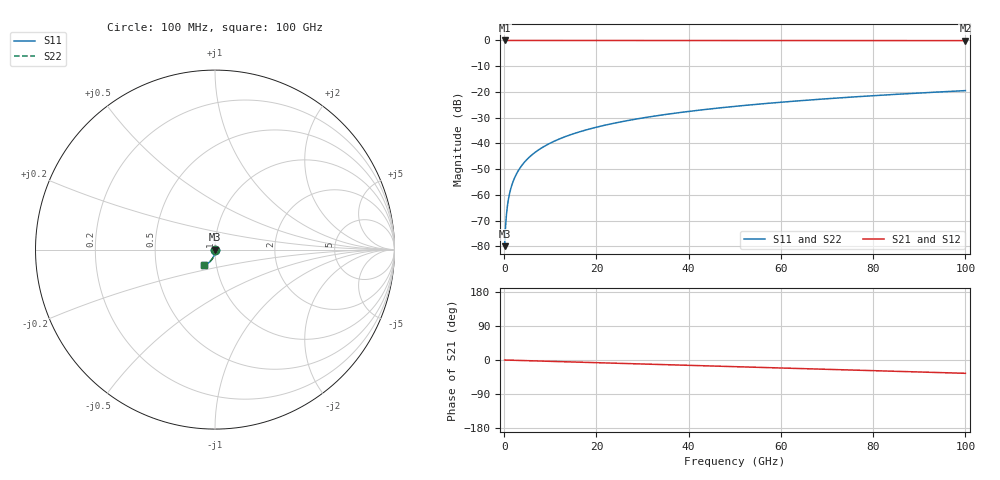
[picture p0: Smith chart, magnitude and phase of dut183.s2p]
! Touchstone file exported from HFSS 2026.1.0
!  File:  C:/ffzhzh/LocalFiles/Ansys_Project_Files/temp_train_TSV_183_1783507158_55944.aedt
!  Generated:  06:40:28 PM Jul  8, 2026
!  Design:  TSV
!  Project:  temp_train_TSV_183_1783507158_55944
! Variables:
!  h_bsmrdl = 2um
!  h_ox = 20um
!  h_rdl = 5um
!  h_sub = 68.57um
!  h_tmrdl = 5um
!  h_tsv = 68.57um
!  h_via = 3um
!  l_bsmrdl = 300um
!  l_sub = 426.9um
!  l_tmrdl = 200um
!  m_sub = 200um
!  pitch = 45.73um
!  r_tsv = 13.45um
!  s_tmrdl = 10um
!  w_bsmrdl = 18um
!  w_sub = 500um
!  w_tmrdl = 12um
!  x_tsv_center1 = 206um
!  x_tsv_center2 = 524um
!  x_tsv_center3 = 736um
!  x_tsv_center4 = 1054um
!  x_tsv_center5 = 1266um
!  x_tsv_center6 = 1584um
# GHz S MA R 50.000000
! Terminal data exported
! Port[1] = TSV1_1_T1
! Port[2] = TSV1_1_T2
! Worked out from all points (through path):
!   1000 points, 100 MHz to 100 GHz, reference 50 ohm
!   highest |S21| = 0.00 dB at 100 MHz (marker M1); lowest = -0.1 dB at 100 GHz (marker M2)
!   group delay of S21, straight-line fit = 975 fs
!   lowest |S11| = -80.0 dB at 100 MHz (marker M3), VSWR 1.00, Z = 50 - j0.00656 ohm
!   |S11| at or under -10 dB: start of sweep to end of sweep
!   |S22| runs from -80.0 to -19.5 dB; largest |S21 - S12| = 2.2e-15
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0.1  0.0001003 -40.8  0.9999 -0.0  0.9999 -0.0  0.0001003 -40.8
! Gamma 0 0 0 0
! Port Impedance 50 0 50 0
0.4  0.0003221 -66.8  0.9999 -0.1  0.9999 -0.1  0.0003221 -66.8
0.7  0.0005994 -72.9  0.9998 -0.3  0.9998 -0.3  0.0005994 -72.9
0.8  0.0006955 -74.3  0.9998 -0.3  0.9998 -0.3  0.0006955 -74.3
1.1  0.0009873 -77.2  0.9998 -0.4  0.9998 -0.4  0.0009873 -77.2
1.4  0.001281 -79.2  0.9997 -0.5  0.9997 -0.5  0.001281 -79.2
1.8  0.001675 -80.9  0.9997 -0.6  0.9997 -0.6  0.001675 -80.9
2.4  0.002273 -82.6  0.9997 -0.9  0.9997 -0.9  0.002273 -82.6
3  0.002877 -83.8  0.9996 -1.1  0.9996 -1.1  0.002877 -83.8
3.8  0.00369 -84.9  0.9996 -1.3  0.9996 -1.3  0.00369 -84.9
4.8  0.004716 -86.0  0.9995 -1.7  0.9995 -1.7  0.004716 -86.0
5.9  0.005849 -87.0  0.9995 -2.1  0.9995 -2.1  0.005849 -87.0
8.7  0.00875 -89.0  0.9993 -3.1  0.9993 -3.1  0.00875 -89.0
12.3  0.01251 -90.9  0.9992 -4.3  0.9992 -4.3  0.01251 -90.9
16.8  0.01723 -93.0  0.999 -5.9  0.999 -5.9  0.01723 -93.0
24.1  0.02491 -96.0  0.9986 -8.5  0.9986 -8.5  0.02491 -96.0
33.4  0.03473 -99.7  0.9981 -11.7  0.9981 -11.7  0.03474 -99.7
41.2  0.043 -102.6  0.9977 -14.5  0.9977 -14.5  0.043 -102.6
50.1  0.05245 -106.0  0.997 -17.6  0.997 -17.6  0.05245 -105.9
66.7  0.07012 -112.0  0.9957 -23.4  0.9957 -23.4  0.07013 -112.0
83.4  0.088 -118.1  0.9939 -29.3  0.9939 -29.3  0.08801 -118.0
100  0.1059 -124.2  0.9918 -35.1  0.9918 -35.1  0.1059 -124.1
